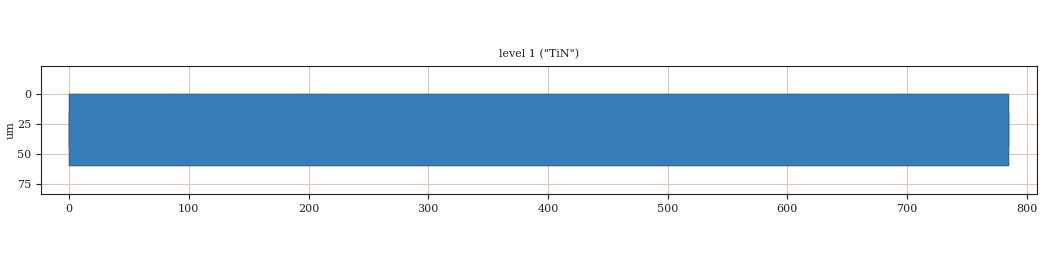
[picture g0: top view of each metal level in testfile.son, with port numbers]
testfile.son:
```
FTYP SONPROJ 15 ! Sonnet Project File
VER 
HEADER
LIC 
DAT 07/22/2026 17:35:22
BUILT_BY_CREATED unknown "unknown version" 07/22/2026 17:35:22
BUILT_BY_SAVED unknown "unknown version"
ANN Created by pysonnet 0.0.4
END HEADER
DIM
CDVY SM
FREQ GHZ
RSVY OHCM
SRES OHSQ
IND NH
LNG UM
ANG DEG
CON /OH
CAP PF
RES OH
END DIM
GEO


SNPANG 45


TMET "Free Space" 0 FREESPACE 376.7303136 0 0 0
BMET "Free Space" 0 FREESPACE 376.7303136 0 0 0
MET "TiN" 1 SUP 0 0 0 12
MET "Nb" 2 SUP 0 0 0 0.1




BOX 2 785.0 60.0 800 400 20 0
1000 1 1 0 0 0 0 "Air"      
0.15 10.3 1 1e-05 0 0 0 "aSi"      
500 9.3 1 0 0 0 0 "Sapphire" A 11.5 1 0 0 0

TECHLAY METAL "Nb"  <UNSPECIFIED> -1 0

0 0 1 N 0 1 1 100 100 0 0 0 Y

END
END

TECHLAY METAL "TiN"  <UNSPECIFIED> -1 0

1 0 0 N 0 1 1 100 100 0 0 0 Y

END
END



POR1 STD 

POLY 80 1
3
1 50 0 0 0 0.0 30.0  
POR1 STD 

POLY 81 1
1
2 50 0 0 0 785.18 30.0  



NUM 8

1 5 -1 N 80 1 1 100 100 0 0 0 Y

TLAYNAM "TiN" INH
0.00000000 15.84500000
23.00000000 15.84500000
23.00000000 44.15500000
0.00000000 44.15500000
0.00000000 15.84500000

END

1 5 -1 N 0 1 1 100 100 0 0 0 Y

TLAYNAM "TiN" INH
23.00000000 29.12500000
230.60000000 29.12500000
230.60000000 30.87500000
23.00000000 30.87500000
23.00000000 29.12500000

END

1 5 -1 N 0 1 1 100 100 0 0 0 Y

TLAYNAM "TiN" INH
230.60000000 15.84500000
275.18000000 15.84500000
275.18000000 44.15500000
230.60000000 44.15500000
230.60000000 15.84500000

END

1 5 -1 N 0 1 1 100 100 0 0 0 Y

TLAYNAM "TiN" INH
275.18000000 29.12500000
510.00000000 29.12500000
510.00000000 30.87500000
275.18000000 30.87500000
275.18000000 29.12500000

END

1 5 -1 N 0 1 1 100 100 0 0 0 Y

TLAYNAM "TiN" INH
510.00000000 15.84500000
554.58000000 15.84500000
554.58000000 44.15500000
510.00000000 44.15500000
510.00000000 15.84500000

END

1 5 -1 N 0 1 1 100 100 0 0 0 Y

TLAYNAM "TiN" INH
554.58000000 29.12500000
762.18000000 29.12500000
762.18000000 30.87500000
554.58000000 30.87500000
554.58000000 29.12500000

END

1 5 -1 N 81 1 1 100 100 0 0 0 Y

TLAYNAM "TiN" INH
762.18000000 15.84500000
785.18000000 15.84500000
785.18000000 44.15500000
762.18000000 44.15500000
762.18000000 15.84500000

END

1 5 -1 N 0 1 1 100 100 0 0 0 Y

TLAYNAM "Nb" INH
0.00000000 0.00000000
0.00000000 60.00000000
785.00000000 60.00000000
785.00000000 0.00000000
0.00000000 0.00000000

ENDEND
END GEO
FREQ
ABS_ENTRY 1.0 16.0

END FREQ
CONTROL
STD
OPTIONS  -d
SUBSPLAM Y 20



SPEED 0

CACHE_ABS 1
TARG_ABS 300
Q_ACC N
DET_ABS_RES False

END CONTROL
OPT
MAX 300
VARS

END

END OPT
VARSWP

END VARSWP

FILEOUT
TS D Y $BASENAME.s2p IC 15 S RI FTERM 50 0 0 0 50 0 0 0





FOLDER .
END FILEOUT
SUBDIV
MAIN $BASENAME_net.son
REFPLANE A 0


END SUBDIV
QSG
IMPORT NO
EXTRA_METAL NO
UNITS NO
ALIGN NO
REF NO
VIEW_RES NO
METALS NO
USED YES
END QSG
SMDFILES

END SMDFILES
TRANSLATOR

END TRANSLATOR
```
